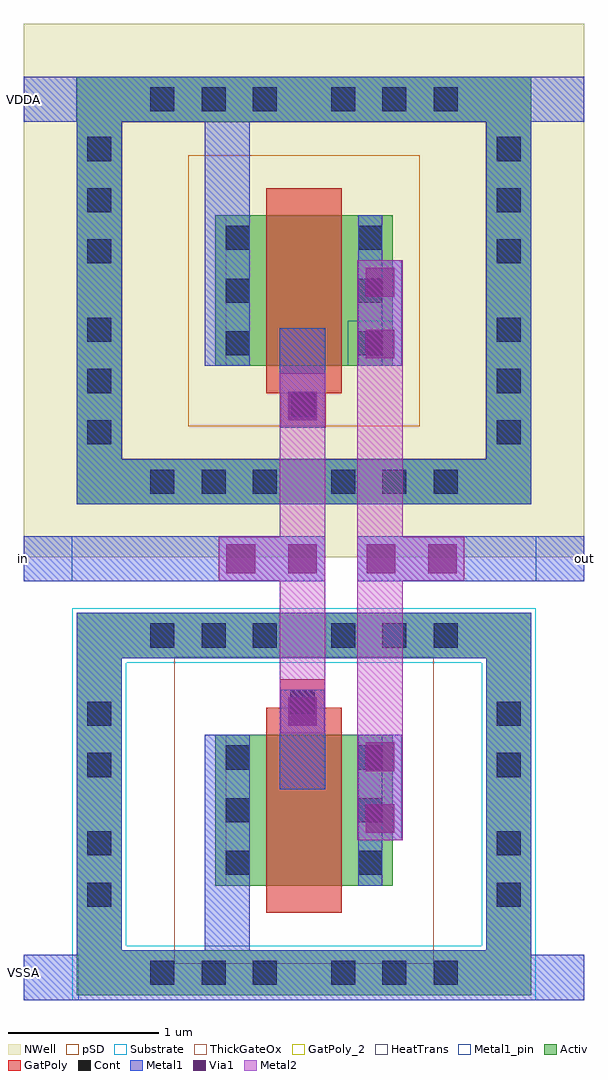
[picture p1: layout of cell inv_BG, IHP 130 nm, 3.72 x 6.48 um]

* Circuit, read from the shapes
.subckt inv_BG VDDA VSSA in out
XM1 out in VSSA VSSA sg13_hv_nmos w=1u l=0.5u
XM2 out in VDDA VDDA sg13_hv_pmos w=1u l=0.5u
.ends

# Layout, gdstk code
import gdstk
lib = gdstk.Library(unit=1e-6, precision=1e-09)
def R(c, l, rs):  # rectangles x0, y0, x1, y1
    for r in rs: c.add(gdstk.rectangle(r[:2], r[2:], *l))
def A(c, l, x, y, w, h, nx, ny, dx, dy):  # array of equal rectangles
    R(c, l, [(x+i*dx, y+j*dy, x+i*dx+w, y+j*dy+h) for i in range(nx) for j in range(ny)])
def P(c, l, *ps):  # polygons
    for p in ps: c.add(gdstk.Polygon(p, *l))
Activ = (1, 0)
GatPoly = (5, 0)
GatPoly_2 = (5, 2)
Cont = (6, 0)
Metal1 = (8, 0)
Metal1_pin = (8, 2)
Metal2 = (10, 0)
pSD = (14, 0)
Via1 = (19, 0)
NWell = (31, 0)
Substrate = (40, 0)
ThickGateOx = (44, 0)
HeatTrans = (51, 0)

viagpcont_m1_1 = lib.new_cell('ViaGPCont_M1$1')
R(viagpcont_m1_1, GatPoly, [(-0.15,-0.15,0.15,0.15), (-0.15,-0.15,0.15,0.15)])
R(viagpcont_m1_1, Cont, [(-0.08,-0.08,0.08,0.08)])
R(viagpcont_m1_1, Metal1, [(-0.13,-0.08,0.13,0.08)])

pmoshv_6 = lib.new_cell('pmosHV$6')
R(pmoshv_6, Activ, [(0,0,0.3,0.3), (0,0,1.18,1), (0.88,0,1.18,0.3)])
R(pmoshv_6, GatPoly, [(0.34,-0.18,0.84,1.18)])
R(pmoshv_6, GatPoly_2, [(0.34,-0.18,0.84,1.18)])
A(pmoshv_6, Cont, 0.07, 0.07, 0.16, 0.16, 1, 3, 0, 0.35)
A(pmoshv_6, Cont, 0.95, 0.07, 0.16, 0.16, 1, 3, 0, 0.35)
R(pmoshv_6, Metal1, [(0.07,0,0.23,1), (0.95,0,1.11,1)])
R(pmoshv_6, Metal1_pin, [(0.07,0,0.23,1), (0.95,0,1.11,1)])
R(pmoshv_6, pSD, [(-0.18,-0.4,1.36,1.4)])
R(pmoshv_6, NWell, [(-0.62,-0.62,1.8,1.62)])
R(pmoshv_6, Substrate, [(0.88,0,1.18,0.3)])
R(pmoshv_6, ThickGateOx, [(-0.62,-0.62,1.8,1.62)])
R(pmoshv_6, HeatTrans, [(0.34,-0.18,0.84,1.18)])
pmoshv_6.add(gdstk.Label('pmosHV', (0.59,0.5), layer=63, texttype=0))
pmoshv_6.add(gdstk.Label('pmos', (0.59,0.5), layer=51, texttype=0))

guardring_5 = lib.new_cell('Guardring$5')
P(guardring_5, Activ, [(-1.51,-1.42),(-1.51,1.12),(-1.21,1.12),(-1.21,-1.12),(1.21,-1.12),(1.21,1.12),(-1.51,1.12),(-1.51,1.42),(1.51,1.42),(1.51,-1.42)])
A(guardring_5, Cont, -1.02, -1.35, 0.16, 0.16, 3, 2, 0.34, 2.54)
A(guardring_5, Cont, 0.18, -1.35, 0.16, 0.16, 3, 2, 0.34, 2.54)
A(guardring_5, Cont, -1.44, -1.02, 0.16, 0.16, 1, 3, 0, 0.34)
A(guardring_5, Cont, 1.28, -1.02, 0.16, 0.16, 1, 3, 0, 0.34)
A(guardring_5, Cont, -1.44, 0.18, 0.16, 0.16, 1, 3, 0, 0.34)
A(guardring_5, Cont, 1.28, 0.18, 0.16, 0.16, 1, 3, 0, 0.34)
P(guardring_5, Metal1, [(-1.51,-1.42),(-1.51,1.12),(-1.21,1.12),(-1.21,-1.12),(1.21,-1.12),(1.21,1.12),(-1.51,1.12),(-1.51,1.42),(1.51,1.42),(1.51,-1.42)])
R(guardring_5, NWell, [(-1.86,-1.77,1.86,1.77)])

via_stack_22_1 = lib.new_cell('via_stack$22$1')
R(via_stack_22_1, Metal1, [(-0.145,-0.145,0.145,0.145)])
R(via_stack_22_1, Metal2, [(-0.145,-0.145,0.145,0.145)])
R(via_stack_22_1, Via1, [(-0.095,-0.095,0.095,0.095)])

nmoshv_3 = lib.new_cell('nmosHV$3')
R(nmoshv_3, Activ, [(0,0,0.3,0.3), (0,0,1.18,1), (0.88,0,1.18,0.3)])
R(nmoshv_3, GatPoly, [(0.34,-0.18,0.84,1.18)])
R(nmoshv_3, GatPoly_2, [(0.34,-0.18,0.84,1.18)])
A(nmoshv_3, Cont, 0.07, 0.07, 0.16, 0.16, 1, 3, 0, 0.35)
A(nmoshv_3, Cont, 0.95, 0.07, 0.16, 0.16, 1, 3, 0, 0.35)
R(nmoshv_3, Metal1, [(0.07,0,0.23,1), (0.95,0,1.11,1)])
R(nmoshv_3, Metal1_pin, [(0.07,0,0.23,1), (0.95,0,1.11,1)])
R(nmoshv_3, ThickGateOx, [(-0.27,-0.52,1.45,1.52)])
R(nmoshv_3, HeatTrans, [(0.34,-0.18,0.84,1.18)])
nmoshv_3.add(gdstk.Label('nmosHV', (0.59,0.5), layer=63, texttype=0))
nmoshv_3.add(gdstk.Label('nmosHV', (0.59,0.5), layer=51, texttype=0))

guardring_6 = lib.new_cell('Guardring$6')
P(guardring_6, Activ, [(-1.51,-1.27),(-1.51,0.97),(-1.21,0.97),(-1.21,-0.97),(1.21,-0.97),(1.21,0.97),(-1.51,0.97),(-1.51,1.27),(1.51,1.27),(1.51,-1.27)])
A(guardring_6, Cont, -1.02, -1.2, 0.16, 0.16, 3, 2, 0.34, 2.24)
A(guardring_6, Cont, 0.18, -1.2, 0.16, 0.16, 3, 2, 0.34, 2.24)
R(guardring_6, Cont, [(-1.44,-0.68,-1.28,-0.52), (1.28,-0.68,1.44,-0.52), (-1.44,-0.34,-1.28,-0.18), (1.28,-0.34,1.44,-0.18), (-1.44,0.18,-1.28,0.34), (1.28,0.18,1.44,0.34), (-1.44,0.52,-1.28,0.68), (1.28,0.52,1.44,0.68)])
P(guardring_6, Metal1, [(-1.51,-1.27),(-1.51,0.97),(-1.21,0.97),(-1.21,-0.97),(1.21,-0.97),(1.21,0.97),(-1.51,0.97),(-1.51,1.27),(1.51,1.27),(1.51,-1.27)])
P(guardring_6, pSD, [(-1.54,-1.3),(-1.54,0.94),(-1.18,0.94),(-1.18,-0.94),(1.18,-0.94),(1.18,0.94),(-1.54,0.94),(-1.54,1.3),(1.54,1.3),(1.54,-1.3)])
P(guardring_6, Substrate, [(-1.54,-1.3),(-1.54,0.94),(-1.18,0.94),(-1.18,-0.94),(1.18,-0.94),(1.18,0.94),(-1.54,0.94),(-1.54,1.3),(1.54,1.3),(1.54,-1.3)])

via_stack_22 = lib.new_cell('via_stack$22')
R(via_stack_22, Metal1, [(-0.145,-0.35,0.145,0.35)])
R(via_stack_22, Metal2, [(-0.145,-0.35,0.145,0.35)])
R(via_stack_22, Via1, [(-0.095,-0.3,0.095,-0.11), (-0.095,0.11,0.095,0.3)])

via_stack_16 = lib.new_cell('via_stack$16')
R(via_stack_16, Metal1, [(-0.35,-0.145,0.35,0.145)])
R(via_stack_16, Metal2, [(-0.35,-0.145,0.35,0.145)])
R(via_stack_16, Via1, [(-0.3,-0.095,-0.11,0.095), (0.11,-0.095,0.3,0.095)])

inv_bg = lib.new_cell('inv_BG')
inv_bg.add(gdstk.FlexPath([(1.85,4.15),(1.85,1.76)], 0.3, ends="flush", simple_path=True, layer=10, datatype=0))  # Metal2
inv_bg.add(gdstk.FlexPath([(2.365,1.05),(2.365,4.9)], 0.3, ends="flush", simple_path=True, layer=10, datatype=0))  # Metal2
inv_bg.add(gdstk.FlexPath([(1.85,3.8),(1.85,4.45)], 0.3, ends="flush", simple_path=True, layer=8, datatype=0))  # Metal1
inv_bg.add(gdstk.FlexPath([(0,5.97),(3.72,5.97)], 0.3, ends="flush", simple_path=True, layer=8, datatype=0))  # Metal1
inv_bg.add(gdstk.FlexPath([(0,0.14),(3.72,0.14)], 0.3, ends="flush", simple_path=True, layer=8, datatype=0))  # Metal1
inv_bg.add(gdstk.FlexPath([(1.35,1.75),(1.35,-0.01)], 0.3, ends="flush", simple_path=True, layer=8, datatype=0))  # Metal1
inv_bg.add(gdstk.FlexPath([(1.35,4.2),(1.35,6.12)], 0.3, ends="flush", simple_path=True, layer=8, datatype=0))  # Metal1
inv_bg.add(gdstk.FlexPath([(1.85,1.76),(1.85,1.39)], 0.3, ends="flush", simple_path=True, layer=8, datatype=0))  # Metal1
inv_bg.add(gdstk.FlexPath([(2,2.92),(0,2.92)], 0.3, ends="flush", simple_path=True, layer=8, datatype=0))  # Metal1
inv_bg.add(gdstk.FlexPath([(2.215,2.92),(3.72,2.92)], 0.3, ends="flush", simple_path=True, layer=8, datatype=0))  # Metal1
inv_bg.add(gdstk.FlexPath([(0,0.14),(0.365,0.14)], 0.3, ends="flush", simple_path=True, layer=8, datatype=2))  # Metal1_pin
inv_bg.add(gdstk.FlexPath([(0.35,5.97),(0,5.97)], 0.3, ends="flush", simple_path=True, layer=8, datatype=2))  # Metal1_pin
inv_bg.add(gdstk.FlexPath([(0,2.92),(0.32,2.92)], 0.3, ends="flush", simple_path=True, layer=8, datatype=2))  # Metal1_pin
inv_bg.add(gdstk.FlexPath([(3.72,2.92),(3.4,2.92)], 0.3, ends="flush", simple_path=True, layer=8, datatype=2))  # Metal1_pin
r = gdstk.Reference(viagpcont_m1_1, (1.85,1.97)); r.repetition = gdstk.Repetition(1, 1, v1=(0,0), v2=(0,0)); inv_bg.add(r)
r = gdstk.Reference(viagpcont_m1_1, (1.855,3.94)); r.repetition = gdstk.Repetition(1, 1, v1=(0,0), v2=(0,0)); inv_bg.add(r)
r = gdstk.Reference(pmoshv_6, (1.27,4.2)); r.repetition = gdstk.Repetition(1, 1, v1=(0,0), v2=(0,0)); inv_bg.add(r)
r = gdstk.Reference(guardring_5, (1.86,4.7)); r.repetition = gdstk.Repetition(1, 1, v1=(0,0), v2=(0,0)); inv_bg.add(r)
r = gdstk.Reference(via_stack_22_1, (1.85,1.905)); r.repetition = gdstk.Repetition(1, 1, v1=(0,0), v2=(0,0)); inv_bg.add(r)
r = gdstk.Reference(via_stack_22_1, (1.85,3.935)); r.repetition = gdstk.Repetition(1, 1, v1=(0,0), v2=(0,0)); inv_bg.add(r)
r = gdstk.Reference(nmoshv_3, (1.27,0.75)); r.repetition = gdstk.Repetition(1, 1, v1=(0,0), v2=(0,0)); inv_bg.add(r)
r = gdstk.Reference(guardring_6, (1.86,1.29)); r.repetition = gdstk.Repetition(1, 1, v1=(0,0), v2=(0,0)); inv_bg.add(r)
r = gdstk.Reference(via_stack_22, (2.365,4.55)); r.repetition = gdstk.Repetition(1, 1, v1=(0,0), v2=(0,0)); inv_bg.add(r)
r = gdstk.Reference(via_stack_22, (2.365,1.4)); r.repetition = gdstk.Repetition(1, 1, v1=(0,0), v2=(0,0)); inv_bg.add(r)
r = gdstk.Reference(via_stack_16, (1.645,2.92)); r.repetition = gdstk.Repetition(1, 1, v1=(0,0), v2=(0,0)); inv_bg.add(r)
r = gdstk.Reference(via_stack_16, (2.575,2.92)); r.repetition = gdstk.Repetition(1, 1, v1=(0,0), v2=(0,0)); inv_bg.add(r)
inv_bg.add(gdstk.Label('VDDA', (0,5.97), layer=8, texttype=25))
inv_bg.add(gdstk.Label('VSSA', (0,0.17), layer=8, texttype=25))
inv_bg.add(gdstk.Label('out', (3.72,2.92), layer=8, texttype=25))
inv_bg.add(gdstk.Label('in', (0,2.92), layer=8, texttype=25))

lib.write_gds('inv_BG.gds')
